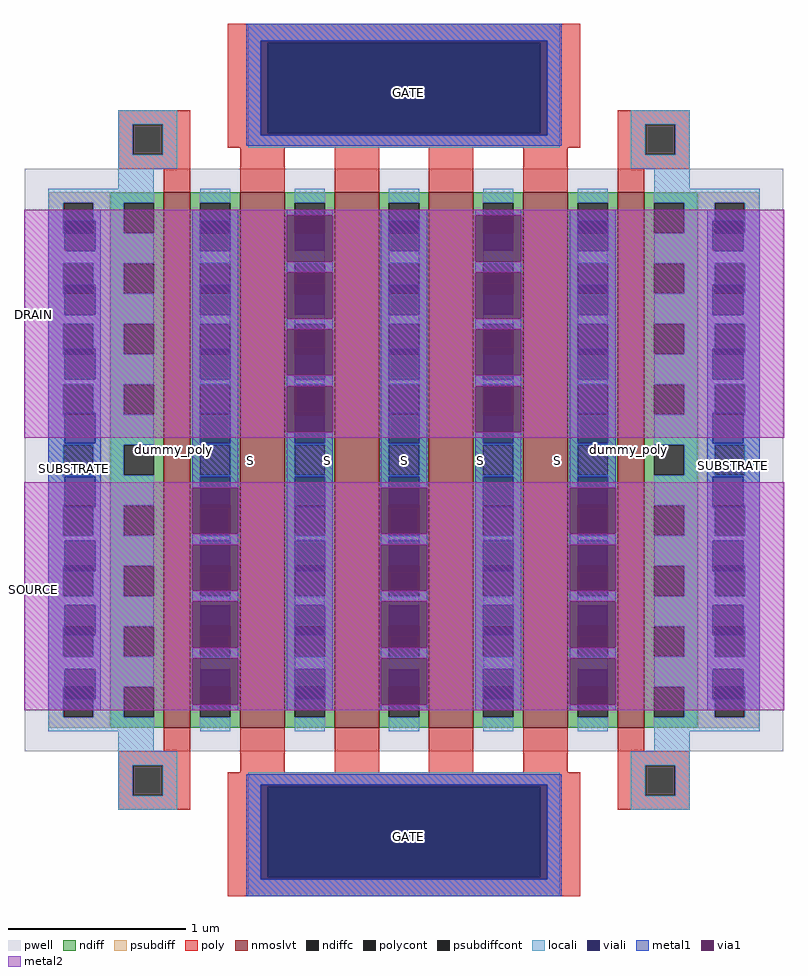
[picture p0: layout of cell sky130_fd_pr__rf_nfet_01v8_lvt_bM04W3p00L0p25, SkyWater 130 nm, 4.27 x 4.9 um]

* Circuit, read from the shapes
.subckt sky130_fd_pr__rf_nfet_01v8_lvt_bM04W3p00L0p25 DRAIN GATE SOURCE SUBSTRATE
XM1 SOURCE SUBSTRATE SUBSTRATE SUBSTRATE sky130_fd_pr__nfet_01v8_lvt w=3.01 l=0.15 m=2
XM2 DRAIN GATE SOURCE SUBSTRATE sky130_fd_pr__nfet_01v8_lvt w=3.01 l=0.25 m=4
.ends

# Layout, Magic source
magic
tech sky130A
magscale 1 2
<< pwell >>
rect 15 163 867 817
<< nmoslvt >>
rect 171 189 201 791
rect 257 189 307 791
rect 363 189 413 791
rect 469 189 519 791
rect 575 189 625 791
rect 681 189 711 791
<< ndiff >>
rect 111 779 171 791
rect 111 745 126 779
rect 160 745 171 779
rect 111 711 171 745
rect 111 677 126 711
rect 160 677 171 711
rect 111 643 171 677
rect 111 609 126 643
rect 160 609 171 643
rect 111 575 171 609
rect 111 541 126 575
rect 160 541 171 575
rect 111 507 171 541
rect 111 473 126 507
rect 160 473 171 507
rect 111 439 171 473
rect 111 405 126 439
rect 160 405 171 439
rect 111 371 171 405
rect 111 337 126 371
rect 160 337 171 371
rect 111 303 171 337
rect 111 269 126 303
rect 160 269 171 303
rect 111 235 171 269
rect 111 201 126 235
rect 160 201 171 235
rect 111 189 171 201
rect 201 779 257 791
rect 201 745 212 779
rect 246 745 257 779
rect 201 711 257 745
rect 201 677 212 711
rect 246 677 257 711
rect 201 643 257 677
rect 201 609 212 643
rect 246 609 257 643
rect 201 575 257 609
rect 201 541 212 575
rect 246 541 257 575
rect 201 507 257 541
rect 201 473 212 507
rect 246 473 257 507
rect 201 439 257 473
rect 201 405 212 439
rect 246 405 257 439
rect 201 371 257 405
rect 201 337 212 371
rect 246 337 257 371
rect 201 303 257 337
rect 201 269 212 303
rect 246 269 257 303
rect 201 235 257 269
rect 201 201 212 235
rect 246 201 257 235
rect 201 189 257 201
rect 307 779 363 791
rect 307 745 318 779
rect 352 745 363 779
rect 307 711 363 745
rect 307 677 318 711
rect 352 677 363 711
rect 307 643 363 677
rect 307 609 318 643
rect 352 609 363 643
rect 307 575 363 609
rect 307 541 318 575
rect 352 541 363 575
rect 307 507 363 541
rect 307 473 318 507
rect 352 473 363 507
rect 307 439 363 473
rect 307 405 318 439
rect 352 405 363 439
rect 307 371 363 405
rect 307 337 318 371
rect 352 337 363 371
rect 307 303 363 337
rect 307 269 318 303
rect 352 269 363 303
rect 307 235 363 269
rect 307 201 318 235
rect 352 201 363 235
rect 307 189 363 201
rect 413 779 469 791
rect 413 745 424 779
rect 458 745 469 779
rect 413 711 469 745
rect 413 677 424 711
rect 458 677 469 711
rect 413 643 469 677
rect 413 609 424 643
rect 458 609 469 643
rect 413 575 469 609
rect 413 541 424 575
rect 458 541 469 575
rect 413 507 469 541
rect 413 473 424 507
rect 458 473 469 507
rect 413 439 469 473
rect 413 405 424 439
rect 458 405 469 439
rect 413 371 469 405
rect 413 337 424 371
rect 458 337 469 371
rect 413 303 469 337
rect 413 269 424 303
rect 458 269 469 303
rect 413 235 469 269
rect 413 201 424 235
rect 458 201 469 235
rect 413 189 469 201
rect 519 779 575 791
rect 519 745 530 779
rect 564 745 575 779
rect 519 711 575 745
rect 519 677 530 711
rect 564 677 575 711
rect 519 643 575 677
rect 519 609 530 643
rect 564 609 575 643
rect 519 575 575 609
rect 519 541 530 575
rect 564 541 575 575
rect 519 507 575 541
rect 519 473 530 507
rect 564 473 575 507
rect 519 439 575 473
rect 519 405 530 439
rect 564 405 575 439
rect 519 371 575 405
rect 519 337 530 371
rect 564 337 575 371
rect 519 303 575 337
rect 519 269 530 303
rect 564 269 575 303
rect 519 235 575 269
rect 519 201 530 235
rect 564 201 575 235
rect 519 189 575 201
rect 625 779 681 791
rect 625 745 636 779
rect 670 745 681 779
rect 625 711 681 745
rect 625 677 636 711
rect 670 677 681 711
rect 625 643 681 677
rect 625 609 636 643
rect 670 609 681 643
rect 625 575 681 609
rect 625 541 636 575
rect 670 541 681 575
rect 625 507 681 541
rect 625 473 636 507
rect 670 473 681 507
rect 625 439 681 473
rect 625 405 636 439
rect 670 405 681 439
rect 625 371 681 405
rect 625 337 636 371
rect 670 337 681 371
rect 625 303 681 337
rect 625 269 636 303
rect 670 269 681 303
rect 625 235 681 269
rect 625 201 636 235
rect 670 201 681 235
rect 625 189 681 201
rect 711 779 771 791
rect 711 745 722 779
rect 756 745 771 779
rect 711 711 771 745
rect 711 677 722 711
rect 756 677 771 711
rect 711 643 771 677
rect 711 609 722 643
rect 756 609 771 643
rect 711 575 771 609
rect 711 541 722 575
rect 756 541 771 575
rect 711 507 771 541
rect 711 473 722 507
rect 756 473 771 507
rect 711 439 771 473
rect 711 405 722 439
rect 756 405 771 439
rect 711 371 771 405
rect 711 337 722 371
rect 756 337 771 371
rect 711 303 771 337
rect 711 269 722 303
rect 756 269 771 303
rect 711 235 771 269
rect 711 201 722 235
rect 756 201 771 235
rect 711 189 771 201
<< ndiffc >>
rect 126 745 160 779
rect 126 677 160 711
rect 126 609 160 643
rect 126 541 160 575
rect 126 473 160 507
rect 126 405 160 439
rect 126 337 160 371
rect 126 269 160 303
rect 126 201 160 235
rect 212 745 246 779
rect 212 677 246 711
rect 212 609 246 643
rect 212 541 246 575
rect 212 473 246 507
rect 212 405 246 439
rect 212 337 246 371
rect 212 269 246 303
rect 212 201 246 235
rect 318 745 352 779
rect 318 677 352 711
rect 318 609 352 643
rect 318 541 352 575
rect 318 473 352 507
rect 318 405 352 439
rect 318 337 352 371
rect 318 269 352 303
rect 318 201 352 235
rect 424 745 458 779
rect 424 677 458 711
rect 424 609 458 643
rect 424 541 458 575
rect 424 473 458 507
rect 424 405 458 439
rect 424 337 458 371
rect 424 269 458 303
rect 424 201 458 235
rect 530 745 564 779
rect 530 677 564 711
rect 530 609 564 643
rect 530 541 564 575
rect 530 473 564 507
rect 530 405 564 439
rect 530 337 564 371
rect 530 269 564 303
rect 530 201 564 235
rect 636 745 670 779
rect 636 677 670 711
rect 636 609 670 643
rect 636 541 670 575
rect 636 473 670 507
rect 636 405 670 439
rect 636 337 670 371
rect 636 269 670 303
rect 636 201 670 235
rect 722 745 756 779
rect 722 677 756 711
rect 722 609 756 643
rect 722 541 756 575
rect 722 473 756 507
rect 722 405 756 439
rect 722 337 756 371
rect 722 269 756 303
rect 722 201 756 235
<< psubdiff >>
rect 41 779 111 791
rect 41 745 58 779
rect 92 745 111 779
rect 41 711 111 745
rect 41 677 58 711
rect 92 677 111 711
rect 41 643 111 677
rect 41 609 58 643
rect 92 609 111 643
rect 41 575 111 609
rect 41 541 58 575
rect 92 541 111 575
rect 41 507 111 541
rect 41 473 58 507
rect 92 473 111 507
rect 41 439 111 473
rect 41 405 58 439
rect 92 405 111 439
rect 41 371 111 405
rect 41 337 58 371
rect 92 337 111 371
rect 41 303 111 337
rect 41 269 58 303
rect 92 269 111 303
rect 41 235 111 269
rect 41 201 58 235
rect 92 201 111 235
rect 41 189 111 201
rect 771 779 841 791
rect 771 745 790 779
rect 824 745 841 779
rect 771 711 841 745
rect 771 677 790 711
rect 824 677 841 711
rect 771 643 841 677
rect 771 609 790 643
rect 824 609 841 643
rect 771 575 841 609
rect 771 541 790 575
rect 824 541 841 575
rect 771 507 841 541
rect 771 473 790 507
rect 824 473 841 507
rect 771 439 841 473
rect 771 405 790 439
rect 824 405 841 439
rect 771 371 841 405
rect 771 337 790 371
rect 824 337 841 371
rect 771 303 841 337
rect 771 269 790 303
rect 824 269 841 303
rect 771 235 841 269
rect 771 201 790 235
rect 824 201 841 235
rect 771 189 841 201
<< psubdiffcont >>
rect 58 745 92 779
rect 58 677 92 711
rect 58 609 92 643
rect 58 541 92 575
rect 58 473 92 507
rect 58 405 92 439
rect 58 337 92 371
rect 58 269 92 303
rect 58 201 92 235
rect 790 745 824 779
rect 790 677 824 711
rect 790 609 824 643
rect 790 541 824 575
rect 790 473 824 507
rect 790 405 824 439
rect 790 337 824 371
rect 790 269 824 303
rect 790 201 824 235
<< poly >>
rect 243 959 639 980
rect 120 867 201 883
rect 120 833 136 867
rect 170 833 201 867
rect 243 857 288 959
rect 594 857 639 959
rect 243 841 639 857
rect 681 867 762 883
rect 120 817 201 833
rect 171 791 201 817
rect 257 791 307 841
rect 363 791 413 841
rect 469 791 519 841
rect 575 791 625 841
rect 681 833 712 867
rect 746 833 762 867
rect 681 817 762 833
rect 681 791 711 817
rect 171 163 201 189
rect 120 147 201 163
rect 120 113 136 147
rect 170 113 201 147
rect 257 139 307 189
rect 363 139 413 189
rect 469 139 519 189
rect 575 139 625 189
rect 681 163 711 189
rect 681 147 762 163
rect 120 97 201 113
rect 243 123 639 139
rect 243 21 288 123
rect 594 21 639 123
rect 681 113 712 147
rect 746 113 762 147
rect 681 97 762 113
rect 243 0 639 21
<< polycont >>
rect 136 833 170 867
rect 288 857 594 959
rect 712 833 746 867
rect 136 113 170 147
rect 288 21 594 123
rect 712 113 746 147
<< locali >>
rect 266 961 616 980
rect 120 867 186 883
rect 120 833 136 867
rect 170 833 186 867
rect 266 855 280 961
rect 602 855 616 961
rect 266 841 616 855
rect 696 867 762 883
rect 120 817 186 833
rect 696 833 712 867
rect 746 833 762 867
rect 696 817 762 833
rect 120 795 160 817
rect 722 795 762 817
rect 41 779 160 795
rect 41 745 58 779
rect 92 759 126 779
rect 94 745 126 759
rect 41 725 60 745
rect 94 725 160 745
rect 41 711 160 725
rect 41 677 58 711
rect 92 687 126 711
rect 94 677 126 687
rect 41 653 60 677
rect 94 653 160 677
rect 41 643 160 653
rect 41 609 58 643
rect 92 615 126 643
rect 94 609 126 615
rect 41 581 60 609
rect 94 581 160 609
rect 41 575 160 581
rect 41 541 58 575
rect 92 543 126 575
rect 94 541 126 543
rect 41 509 60 541
rect 94 509 160 541
rect 41 507 160 509
rect 41 473 58 507
rect 92 473 126 507
rect 41 471 160 473
rect 41 439 60 471
rect 94 439 160 471
rect 41 405 58 439
rect 94 437 126 439
rect 92 405 126 437
rect 41 399 160 405
rect 41 371 60 399
rect 94 371 160 399
rect 41 337 58 371
rect 94 365 126 371
rect 92 337 126 365
rect 41 327 160 337
rect 41 303 60 327
rect 94 303 160 327
rect 41 269 58 303
rect 94 293 126 303
rect 92 269 126 293
rect 41 255 160 269
rect 41 235 60 255
rect 94 235 160 255
rect 41 201 58 235
rect 94 221 126 235
rect 92 201 126 221
rect 41 185 160 201
rect 212 779 246 795
rect 212 711 246 725
rect 212 643 246 653
rect 212 575 246 581
rect 212 507 246 509
rect 212 471 246 473
rect 212 399 246 405
rect 212 327 246 337
rect 212 255 246 269
rect 212 185 246 201
rect 318 779 352 795
rect 318 711 352 725
rect 318 643 352 653
rect 318 575 352 581
rect 318 507 352 509
rect 318 471 352 473
rect 318 399 352 405
rect 318 327 352 337
rect 318 255 352 269
rect 318 185 352 201
rect 424 779 458 795
rect 424 711 458 725
rect 424 643 458 653
rect 424 575 458 581
rect 424 507 458 509
rect 424 471 458 473
rect 424 399 458 405
rect 424 327 458 337
rect 424 255 458 269
rect 424 185 458 201
rect 530 779 564 795
rect 530 711 564 725
rect 530 643 564 653
rect 530 575 564 581
rect 530 507 564 509
rect 530 471 564 473
rect 530 399 564 405
rect 530 327 564 337
rect 530 255 564 269
rect 530 185 564 201
rect 636 779 670 795
rect 636 711 670 725
rect 636 643 670 653
rect 636 575 670 581
rect 636 507 670 509
rect 636 471 670 473
rect 636 399 670 405
rect 636 327 670 337
rect 636 255 670 269
rect 636 185 670 201
rect 722 779 841 795
rect 756 759 790 779
rect 756 745 788 759
rect 824 745 841 779
rect 722 725 788 745
rect 822 725 841 745
rect 722 711 841 725
rect 756 687 790 711
rect 756 677 788 687
rect 824 677 841 711
rect 722 653 788 677
rect 822 653 841 677
rect 722 643 841 653
rect 756 615 790 643
rect 756 609 788 615
rect 824 609 841 643
rect 722 581 788 609
rect 822 581 841 609
rect 722 575 841 581
rect 756 543 790 575
rect 756 541 788 543
rect 824 541 841 575
rect 722 509 788 541
rect 822 509 841 541
rect 722 507 841 509
rect 756 473 790 507
rect 824 473 841 507
rect 722 471 841 473
rect 722 439 788 471
rect 822 439 841 471
rect 756 437 788 439
rect 756 405 790 437
rect 824 405 841 439
rect 722 399 841 405
rect 722 371 788 399
rect 822 371 841 399
rect 756 365 788 371
rect 756 337 790 365
rect 824 337 841 371
rect 722 327 841 337
rect 722 303 788 327
rect 822 303 841 327
rect 756 293 788 303
rect 756 269 790 293
rect 824 269 841 303
rect 722 255 841 269
rect 722 235 788 255
rect 822 235 841 255
rect 756 221 788 235
rect 756 201 790 221
rect 824 201 841 235
rect 722 185 841 201
rect 120 163 160 185
rect 722 163 762 185
rect 120 147 186 163
rect 120 113 136 147
rect 170 113 186 147
rect 696 147 762 163
rect 120 97 186 113
rect 266 125 616 139
rect 266 19 280 125
rect 602 19 616 125
rect 696 113 712 147
rect 746 113 762 147
rect 696 97 762 113
rect 266 0 616 19
<< viali >>
rect 280 959 602 961
rect 280 857 288 959
rect 288 857 594 959
rect 594 857 602 959
rect 280 855 602 857
rect 60 745 92 759
rect 92 745 94 759
rect 60 725 94 745
rect 60 677 92 687
rect 92 677 94 687
rect 60 653 94 677
rect 60 609 92 615
rect 92 609 94 615
rect 60 581 94 609
rect 60 541 92 543
rect 92 541 94 543
rect 60 509 94 541
rect 60 439 94 471
rect 60 437 92 439
rect 92 437 94 439
rect 60 371 94 399
rect 60 365 92 371
rect 92 365 94 371
rect 60 303 94 327
rect 60 293 92 303
rect 92 293 94 303
rect 60 235 94 255
rect 60 221 92 235
rect 92 221 94 235
rect 212 745 246 759
rect 212 725 246 745
rect 212 677 246 687
rect 212 653 246 677
rect 212 609 246 615
rect 212 581 246 609
rect 212 541 246 543
rect 212 509 246 541
rect 212 439 246 471
rect 212 437 246 439
rect 212 371 246 399
rect 212 365 246 371
rect 212 303 246 327
rect 212 293 246 303
rect 212 235 246 255
rect 212 221 246 235
rect 318 745 352 759
rect 318 725 352 745
rect 318 677 352 687
rect 318 653 352 677
rect 318 609 352 615
rect 318 581 352 609
rect 318 541 352 543
rect 318 509 352 541
rect 318 439 352 471
rect 318 437 352 439
rect 318 371 352 399
rect 318 365 352 371
rect 318 303 352 327
rect 318 293 352 303
rect 318 235 352 255
rect 318 221 352 235
rect 424 745 458 759
rect 424 725 458 745
rect 424 677 458 687
rect 424 653 458 677
rect 424 609 458 615
rect 424 581 458 609
rect 424 541 458 543
rect 424 509 458 541
rect 424 439 458 471
rect 424 437 458 439
rect 424 371 458 399
rect 424 365 458 371
rect 424 303 458 327
rect 424 293 458 303
rect 424 235 458 255
rect 424 221 458 235
rect 530 745 564 759
rect 530 725 564 745
rect 530 677 564 687
rect 530 653 564 677
rect 530 609 564 615
rect 530 581 564 609
rect 530 541 564 543
rect 530 509 564 541
rect 530 439 564 471
rect 530 437 564 439
rect 530 371 564 399
rect 530 365 564 371
rect 530 303 564 327
rect 530 293 564 303
rect 530 235 564 255
rect 530 221 564 235
rect 636 745 670 759
rect 636 725 670 745
rect 636 677 670 687
rect 636 653 670 677
rect 636 609 670 615
rect 636 581 670 609
rect 636 541 670 543
rect 636 509 670 541
rect 636 439 670 471
rect 636 437 670 439
rect 636 371 670 399
rect 636 365 670 371
rect 636 303 670 327
rect 636 293 670 303
rect 636 235 670 255
rect 636 221 670 235
rect 788 745 790 759
rect 790 745 822 759
rect 788 725 822 745
rect 788 677 790 687
rect 790 677 822 687
rect 788 653 822 677
rect 788 609 790 615
rect 790 609 822 615
rect 788 581 822 609
rect 788 541 790 543
rect 790 541 822 543
rect 788 509 822 541
rect 788 439 822 471
rect 788 437 790 439
rect 790 437 822 439
rect 788 371 822 399
rect 788 365 790 371
rect 790 365 822 371
rect 788 303 822 327
rect 788 293 790 303
rect 790 293 822 303
rect 788 235 822 255
rect 788 221 790 235
rect 790 221 822 235
rect 280 123 602 125
rect 280 21 288 123
rect 288 21 594 123
rect 594 21 602 123
rect 280 19 602 21
<< metal1 >>
rect 264 961 618 980
rect 264 855 280 961
rect 602 855 618 961
rect 264 843 618 855
rect 41 759 100 771
rect 41 725 60 759
rect 94 725 100 759
rect 41 687 100 725
rect 41 653 60 687
rect 94 653 100 687
rect 41 615 100 653
rect 41 581 60 615
rect 94 581 100 615
rect 41 543 100 581
rect 41 509 60 543
rect 94 509 100 543
rect 41 471 100 509
rect 41 437 60 471
rect 94 437 100 471
rect 41 399 100 437
rect 41 365 60 399
rect 94 365 100 399
rect 41 327 100 365
rect 41 293 60 327
rect 94 293 100 327
rect 41 255 100 293
rect 41 221 60 255
rect 94 221 100 255
rect 41 209 100 221
rect 203 759 255 771
rect 203 725 212 759
rect 246 725 255 759
rect 203 687 255 725
rect 203 653 212 687
rect 246 653 255 687
rect 203 615 255 653
rect 203 581 212 615
rect 246 581 255 615
rect 203 543 255 581
rect 203 509 212 543
rect 246 509 255 543
rect 203 471 255 509
rect 203 459 212 471
rect 246 459 255 471
rect 203 399 255 407
rect 203 395 212 399
rect 246 395 255 399
rect 203 331 255 343
rect 203 267 255 279
rect 203 209 255 215
rect 309 765 361 771
rect 309 701 361 713
rect 309 637 361 649
rect 309 581 318 585
rect 352 581 361 585
rect 309 573 361 581
rect 309 509 318 521
rect 352 509 361 521
rect 309 471 361 509
rect 309 437 318 471
rect 352 437 361 471
rect 309 399 361 437
rect 309 365 318 399
rect 352 365 361 399
rect 309 327 361 365
rect 309 293 318 327
rect 352 293 361 327
rect 309 255 361 293
rect 309 221 318 255
rect 352 221 361 255
rect 309 209 361 221
rect 415 759 467 771
rect 415 725 424 759
rect 458 725 467 759
rect 415 687 467 725
rect 415 653 424 687
rect 458 653 467 687
rect 415 615 467 653
rect 415 581 424 615
rect 458 581 467 615
rect 415 543 467 581
rect 415 509 424 543
rect 458 509 467 543
rect 415 471 467 509
rect 415 459 424 471
rect 458 459 467 471
rect 415 399 467 407
rect 415 395 424 399
rect 458 395 467 399
rect 415 331 467 343
rect 415 267 467 279
rect 415 209 467 215
rect 521 765 573 771
rect 521 701 573 713
rect 521 637 573 649
rect 521 581 530 585
rect 564 581 573 585
rect 521 573 573 581
rect 521 509 530 521
rect 564 509 573 521
rect 521 471 573 509
rect 521 437 530 471
rect 564 437 573 471
rect 521 399 573 437
rect 521 365 530 399
rect 564 365 573 399
rect 521 327 573 365
rect 521 293 530 327
rect 564 293 573 327
rect 521 255 573 293
rect 521 221 530 255
rect 564 221 573 255
rect 521 209 573 221
rect 627 759 679 771
rect 627 725 636 759
rect 670 725 679 759
rect 627 687 679 725
rect 627 653 636 687
rect 670 653 679 687
rect 627 615 679 653
rect 627 581 636 615
rect 670 581 679 615
rect 627 543 679 581
rect 627 509 636 543
rect 670 509 679 543
rect 627 471 679 509
rect 627 459 636 471
rect 670 459 679 471
rect 627 399 679 407
rect 627 395 636 399
rect 670 395 679 399
rect 627 331 679 343
rect 627 267 679 279
rect 627 209 679 215
rect 782 759 841 771
rect 782 725 788 759
rect 822 725 841 759
rect 782 687 841 725
rect 782 653 788 687
rect 822 653 841 687
rect 782 615 841 653
rect 782 581 788 615
rect 822 581 841 615
rect 782 543 841 581
rect 782 509 788 543
rect 822 509 841 543
rect 782 471 841 509
rect 782 437 788 471
rect 822 437 841 471
rect 782 399 841 437
rect 782 365 788 399
rect 822 365 841 399
rect 782 327 841 365
rect 782 293 788 327
rect 822 293 841 327
rect 782 255 841 293
rect 782 221 788 255
rect 822 221 841 255
rect 782 209 841 221
rect 264 125 618 137
rect 264 19 280 125
rect 602 19 618 125
rect 264 0 618 19
<< via1 >>
rect 203 437 212 459
rect 212 437 246 459
rect 246 437 255 459
rect 203 407 255 437
rect 203 365 212 395
rect 212 365 246 395
rect 246 365 255 395
rect 203 343 255 365
rect 203 327 255 331
rect 203 293 212 327
rect 212 293 246 327
rect 246 293 255 327
rect 203 279 255 293
rect 203 255 255 267
rect 203 221 212 255
rect 212 221 246 255
rect 246 221 255 255
rect 203 215 255 221
rect 309 759 361 765
rect 309 725 318 759
rect 318 725 352 759
rect 352 725 361 759
rect 309 713 361 725
rect 309 687 361 701
rect 309 653 318 687
rect 318 653 352 687
rect 352 653 361 687
rect 309 649 361 653
rect 309 615 361 637
rect 309 585 318 615
rect 318 585 352 615
rect 352 585 361 615
rect 309 543 361 573
rect 309 521 318 543
rect 318 521 352 543
rect 352 521 361 543
rect 415 437 424 459
rect 424 437 458 459
rect 458 437 467 459
rect 415 407 467 437
rect 415 365 424 395
rect 424 365 458 395
rect 458 365 467 395
rect 415 343 467 365
rect 415 327 467 331
rect 415 293 424 327
rect 424 293 458 327
rect 458 293 467 327
rect 415 279 467 293
rect 415 255 467 267
rect 415 221 424 255
rect 424 221 458 255
rect 458 221 467 255
rect 415 215 467 221
rect 521 759 573 765
rect 521 725 530 759
rect 530 725 564 759
rect 564 725 573 759
rect 521 713 573 725
rect 521 687 573 701
rect 521 653 530 687
rect 530 653 564 687
rect 564 653 573 687
rect 521 649 573 653
rect 521 615 573 637
rect 521 585 530 615
rect 530 585 564 615
rect 564 585 573 615
rect 521 543 573 573
rect 521 521 530 543
rect 530 521 564 543
rect 564 521 573 543
rect 627 437 636 459
rect 636 437 670 459
rect 670 437 679 459
rect 627 407 679 437
rect 627 365 636 395
rect 636 365 670 395
rect 670 365 679 395
rect 627 343 679 365
rect 627 327 679 331
rect 627 293 636 327
rect 636 293 670 327
rect 670 293 679 327
rect 627 279 679 293
rect 627 255 679 267
rect 627 221 636 255
rect 636 221 670 255
rect 670 221 679 255
rect 627 215 679 221
<< metal2 >>
rect 14 765 868 771
rect 14 713 309 765
rect 361 713 521 765
rect 573 713 868 765
rect 14 701 868 713
rect 14 649 309 701
rect 361 649 521 701
rect 573 649 868 701
rect 14 637 868 649
rect 14 585 309 637
rect 361 585 521 637
rect 573 585 868 637
rect 14 573 868 585
rect 14 521 309 573
rect 361 521 521 573
rect 573 521 868 573
rect 14 515 868 521
rect 14 459 868 465
rect 14 407 203 459
rect 255 407 415 459
rect 467 407 627 459
rect 679 407 868 459
rect 14 395 868 407
rect 14 343 203 395
rect 255 343 415 395
rect 467 343 627 395
rect 679 343 868 395
rect 14 331 868 343
rect 14 279 203 331
rect 255 279 415 331
rect 467 279 627 331
rect 679 279 868 331
rect 14 267 868 279
rect 14 215 203 267
rect 255 215 415 267
rect 467 215 627 267
rect 679 215 868 267
rect 14 209 868 215
<< labels >>
flabel metal1 s 321 42 571 92 0 FreeSans 200 0 0 0 GATE
port 2 nsew
flabel metal1 s 321 878 571 928 0 FreeSans 200 0 0 0 GATE
port 2 nsew
flabel metal1 s 41 466 100 496 0 FreeSans 200 90 0 0 SUBSTRATE
port 4 nsew
flabel metal1 s 782 469 841 499 0 FreeSans 200 90 0 0 SUBSTRATE
port 4 nsew
flabel comment s 693 502 693 502 0 FreeSans 180 90 0 0 dummy_poly
flabel comment s 182 502 182 502 0 FreeSans 180 90 0 0 dummy_poly
flabel comment s 269 490 269 490 0 FreeSans 300 0 0 0 S
flabel comment s 355 490 355 490 0 FreeSans 300 0 0 0 S
flabel comment s 441 490 441 490 0 FreeSans 300 0 0 0 S
flabel comment s 527 490 527 490 0 FreeSans 300 0 0 0 S
flabel comment s 269 490 269 490 0 FreeSans 300 0 0 0 S
flabel comment s 355 490 355 490 0 FreeSans 300 0 0 0 D
flabel comment s 441 490 441 490 0 FreeSans 300 0 0 0 S
flabel comment s 527 490 527 490 0 FreeSans 300 0 0 0 D
flabel comment s 613 490 613 490 0 FreeSans 300 0 0 0 S
flabel metal2 s 14 280 35 408 7 FreeSans 300 180 0 0 SOURCE
port 3 nsew
flabel metal2 s 14 589 35 717 7 FreeSans 300 180 0 0 DRAIN
port 1 nsew
<< properties >>
string GDS_FILE $PDKPATH/libs.ref/sky130_fd_pr/gds/sky130_fd_pr.gds
string GDS_END 6534174
string GDS_START 6513220
<< end >>
